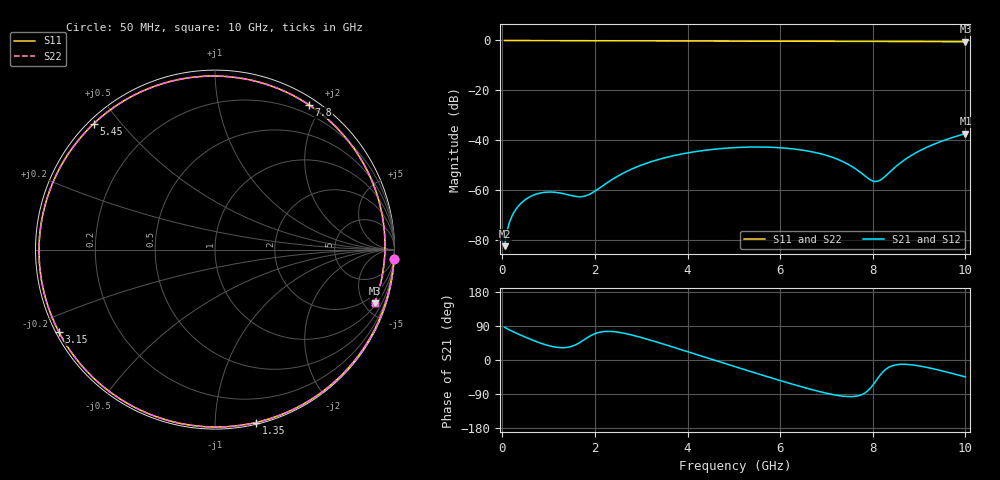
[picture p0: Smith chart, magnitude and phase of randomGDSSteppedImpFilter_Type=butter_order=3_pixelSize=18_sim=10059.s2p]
! freq	dB(S11)	phase(S11)	dB(S12)	phase(S12)
!  dB(S21)	phase(S21)	dB(S22)	phase(S22)
!S-par simulation data
#  GHz  S  DB  R 50
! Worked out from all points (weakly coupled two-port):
!   200 points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, 50 MHz to 10 GHz, reference 50 ohm
!   highest |S21| = -37.31 dB at 10 GHz (marker M1); lowest = -82.4 dB at 50 MHz (marker M2)
!   lowest |S11| = -0.6 dB at 10 GHz (marker M3), VSWR 31.28, Z = 58.9 - j294 ohm
!   |S11| at or under -10 dB: nowhere
!   |S22| runs from -0.6 to 0.0 dB; largest |S21 - S12| = 0
!   S11 on the Smith chart (normalised r, x): 50 MHz: 1, -39; 1.35 GHz: 0.01, -1.26; 3.15 GHz: 0.01, -0.25; 5.45 GHz: 0.02, +0.43; 7.8 GHz: 0.09, +1.84; 10 GHz: 1.18, -5.87
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0.05  -0.01 -2.9  -82.39 86.3  -82.39 86.3  -0.01 -2.9
0.2  -0.03 -12.0  -70.72 76.7  -70.72 76.7  -0.03 -12.0
0.35  -0.04 -21.1  -66.29 68.3  -66.29 68.3  -0.04 -21.0
0.5  -0.04 -30.0  -63.72 60.3  -63.72 60.3  -0.04 -30.0
0.9  -0.06 -52.9  -60.86 41.6  -60.86 41.6  -0.07 -52.9
1.35  -0.09 -76.7  -61.49 32.7  -61.49 32.7  -0.09 -76.7
1.75  -0.11 -96.1  -62.47 52.1  -62.47 52.1  -0.10 -96.1
2.45  -0.13 -126.0  -54.81 74.2  -54.81 74.2  -0.13 -126.0
3.15  -0.15 -152.2  -48.95 54.2  -48.95 54.2  -0.15 -152.1
3.4  -0.15 -160.8  -47.53 45.0  -47.53 45.0  -0.15 -160.8
4.2  -0.18 172.9  -44.44 14.3  -44.44 14.3  -0.18 173.0
5.05  -0.21 146.3  -42.89 -18.5  -42.89 -18.5  -0.21 146.3
5.45  -0.23 133.9  -42.68 -33.7  -42.68 -33.7  -0.23 133.9
6.1  -0.26 113.4  -43.12 -57.9  -43.12 -57.9  -0.26 113.4
6.7  -0.29 94.0  -44.65 -78.7  -44.65 -78.7  -0.29 94.0
7.3  -0.31 74.0  -48.05 -94.6  -48.05 -94.6  -0.31 74.1
7.8  -0.34 57.0  -53.81 -89.1  -53.81 -89.1  -0.34 57.1
8.05  -0.35 48.4  -56.50 -58.4  -56.50 -58.4  -0.35 48.4
8.35  -0.37 38.0  -53.01 -19.0  -53.01 -19.0  -0.37 38.1
9  -0.43 15.4  -44.30 -15.6  -44.30 -15.6  -0.43 15.5
9.5  -0.48 -1.8  -40.28 -28.8  -40.28 -28.8  -0.48 -1.7
10  -0.56 -18.6  -37.31 -44.6  -37.31 -44.6  -0.56 -18.5
